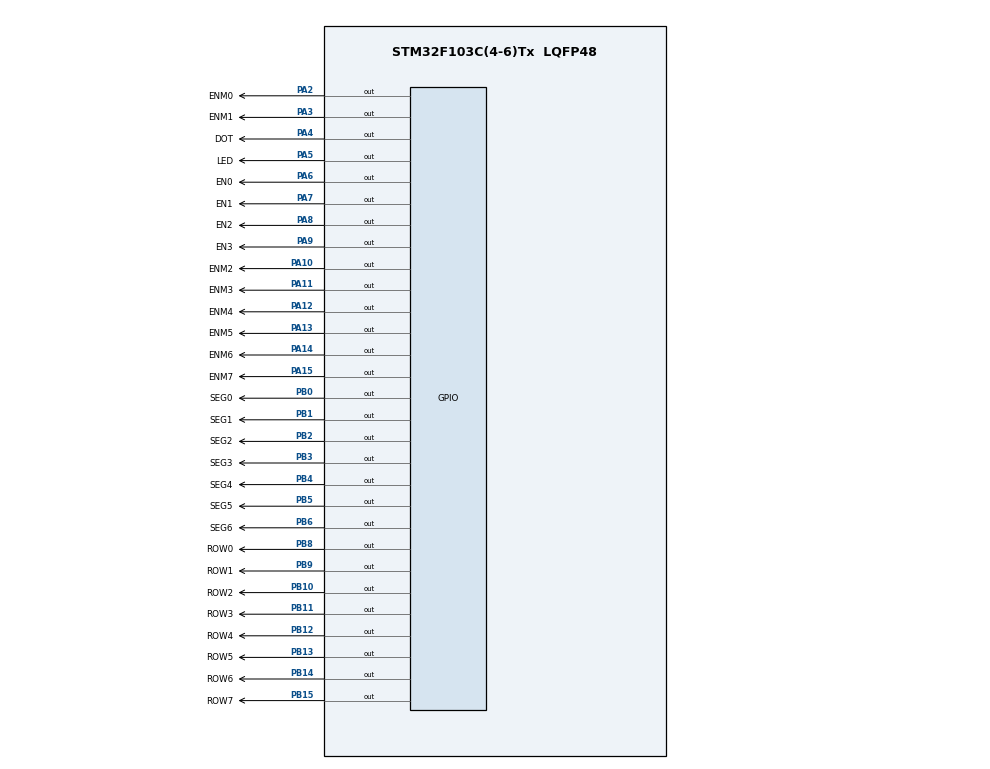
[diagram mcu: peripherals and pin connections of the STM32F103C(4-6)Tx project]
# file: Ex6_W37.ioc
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Mcu.Family=STM32F1
PB14.GPIO_Label=ROW6
PA14.GPIO_Label=ENM6
PA6.GPIO_Label=EN0
PB0.GPIO_Label=SEG0
PB6.GPIO_Label=SEG6
PB13.GPIO_Label=ROW5
PB11.Signal=GPIO_Output
PB15.Signal=GPIO_Output
PB13.Signal=GPIO_Output
ProjectManager.StackSize=0x400
PD1-OSC_OUT.Signal=RCC_OSC_OUT
PA15.GPIO_Label=ENM7
PA12.Signal=GPIO_Output
PB6.Signal=GPIO_Output
PB2.Signal=GPIO_Output
PB12.GPIO_Label=ROW4
PB1.GPIO_Label=SEG1
NVIC.TIM2_IRQn=true\:0\:0\:false\:false\:true\:true\:true
PA10.GPIO_Label=ENM2
PA8.Signal=GPIO_Output
Mcu.Package=LQFP48
PB9.Signal=GPIO_Output
TIM2.Prescaler=7999
PB1.Signal=GPIO_Output
PA6.Signal=GPIO_Output
PA2.GPIO_Label=ENM0
PA10.Signal=GPIO_Output
PA15.Signal=GPIO_Output
PB5.GPIO_Label=SEG5
PA4.GPIO_Label=DOT
PB4.Signal=GPIO_Output
PA3.Signal=GPIO_Output
PB3.GPIO_Label=SEG3
PD1-OSC_OUT.Mode=HSE-External-Oscillator
PB9.GPIO_Label=ROW1
PA9.GPIO_Label=EN3
PB11.GPIO_Label=ROW3
PA11.GPIO_Label=ENM3
PD0-OSC_IN.Signal=RCC_OSC_IN
VP_SYS_VS_ND.Mode=No_Debug
PA12.GPIO_Label=ENM4
PA13.Signal=GPIO_Output
PB8.GPIO_Label=ROW0
PA8.GPIO_Label=EN2
ProjectManager.TargetToolchain=STM32CubeIDE
PB10.GPIO_Label=ROW2
PA9.Signal=GPIO_Output
PD0-OSC_IN.Mode=HSE-External-Oscillator
PB10.Signal=GPIO_Output
PB14.Signal=GPIO_Output
PA5.Signal=GPIO_Output
board=custom
RCC.APB2Freq_Value=8000000
PB4.GPIO_Label=SEG4
PB15.GPIO_Label=ROW7
VP_TIM2_VS_ClockSourceINT.Mode=Internal
TIM2.Period=9
Mcu.Name=STM32F103C(4-6)Tx
PA2.Signal=GPIO_Output
PA13.GPIO_Label=ENM5
PB3.Signal=GPIO_Output
PA4.Signal=GPIO_Output
PB5.Signal=GPIO_Output
PA7.GPIO_Label=EN1
PA5.GPIO_Label=LED
PA11.Signal=GPIO_Output
PA14.Signal=GPIO_Output
PB2.GPIO_Label=SEG2
ProjectManager.HeapSize=0x200
NVIC.PriorityGroup=NVIC_PRIORITYGROUP_4
PB8.Signal=GPIO_Output
RCC.APB1Freq_Value=8000000
PB0.Signal=GPIO_Output
PB12.Signal=GPIO_Output
PA3.GPIO_Label=ENM1
PA7.Signal=GPIO_Output

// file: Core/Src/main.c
/* USER CODE BEGIN Header */
/**
  ******************************************************************************
  * @file           : main.c
  * @brief          : Main program body
  ******************************************************************************
  * @attention
  *
  * <h2><center>&copy; Copyright (c) 2021 STMicroelectronics.
  * All rights reserved.</center></h2>
  *
  * This software component is licensed by ST under BSD 3-Clause license,
  * the "License"; You may not use this file except in compliance with the
  * License. You may obtain a copy of the License at:
  *                        opensource.org/licenses/BSD-3-Clause
  *
  ******************************************************************************
  */
/* USER CODE END Header */
#include "main.h"

/* USER CODE BEGIN PTD */
void display7SEG(int num) //display 7SEG-LED
{
	/*HAL_GPIO_WritePin(GPIOB, GPIO_PIN_0, GPIO_PIN_SET);
	HAL_GPIO_WritePin(GPIOB, GPIO_PIN_1, GPIO_PIN_SET);
	HAL_GPIO_WritePin(GPIOB, GPIO_PIN_2, GPIO_PIN_SET);
	HAL_GPIO_WritePin(GPIOB, GPIO_PIN_3, GPIO_PIN_SET);
	HAL_GPIO_WritePin(GPIOB, GPIO_PIN_4, GPIO_PIN_SET);
	HAL_GPIO_WritePin(GPIOB, GPIO_PIN_5, GPIO_PIN_SET);
	HAL_GPIO_WritePin(GPIOB, GPIO_PIN_6, GPIO_PIN_SET);*/
	switch (num) {
		case 0:
			HAL_GPIO_WritePin(GPIOB, GPIO_PIN_0, GPIO_PIN_RESET);
			HAL_GPIO_WritePin(GPIOB, GPIO_PIN_1, GPIO_PIN_RESET);
			HAL_GPIO_WritePin(GPIOB, GPIO_PIN_2, GPIO_PIN_RESET);
			HAL_GPIO_WritePin(GPIOB, GPIO_PIN_3, GPIO_PIN_RESET);
			HAL_GPIO_WritePin(GPIOB, GPIO_PIN_4, GPIO_PIN_RESET);
			HAL_GPIO_WritePin(GPIOB, GPIO_PIN_5, GPIO_PIN_RESET);
			HAL_GPIO_WritePin(GPIOB, GPIO_PIN_6, GPIO_PIN_SET);
			break;
		case 1:
			HAL_GPIO_WritePin(GPIOB, GPIO_PIN_0, GPIO_PIN_SET);
				HAL_GPIO_WritePin(GPIOB, GPIO_PIN_1, GPIO_PIN_RESET);
				HAL_GPIO_WritePin(GPIOB, GPIO_PIN_2, GPIO_PIN_RESET);
				HAL_GPIO_WritePin(GPIOB, GPIO_PIN_3, GPIO_PIN_SET);
				HAL_GPIO_WritePin(GPIOB, GPIO_PIN_4, GPIO_PIN_SET);
				HAL_GPIO_WritePin(GPIOB, GPIO_PIN_5, GPIO_PIN_SET);
				HAL_GPIO_WritePin(GPIOB, GPIO_PIN_6, GPIO_PIN_SET);
			break;
		case 2:
			HAL_GPIO_WritePin(GPIOB, GPIO_PIN_0, GPIO_PIN_RESET);
				HAL_GPIO_WritePin(GPIOB, GPIO_PIN_1, GPIO_PIN_RESET);
				HAL_GPIO_WritePin(GPIOB, GPIO_PIN_2, GPIO_PIN_SET);
				HAL_GPIO_WritePin(GPIOB, GPIO_PIN_3, GPIO_PIN_RESET);
				HAL_GPIO_WritePin(GPIOB, GPIO_PIN_4, GPIO_PIN_RESET);
				HAL_GPIO_WritePin(GPIOB, GPIO_PIN_5, GPIO_PIN_SET);
				HAL_GPIO_WritePin(GPIOB, GPIO_PIN_6, GPIO_PIN_RESET);
			break;
		case 3:
			HAL_GPIO_WritePin(GPIOB, GPIO_PIN_0, GPIO_PIN_RESET);
				HAL_GPIO_WritePin(GPIOB, GPIO_PIN_1, GPIO_PIN_RESET);
				HAL_GPIO_WritePin(GPIOB, GPIO_PIN_2, GPIO_PIN_RESET);
				HAL_GPIO_WritePin(GPIOB, GPIO_PIN_3, GPIO_PIN_RESET);
				HAL_GPIO_WritePin(GPIOB, GPIO_PIN_4, GPIO_PIN_SET);
				HAL_GPIO_WritePin(GPIOB, GPIO_PIN_5, GPIO_PIN_SET);
				HAL_GPIO_WritePin(GPIOB, GPIO_PIN_6, GPIO_PIN_RESET);
			break;
		case 4:
			HAL_GPIO_WritePin(GPIOB, GPIO_PIN_0, GPIO_PIN_SET);
				HAL_GPIO_WritePin(GPIOB, GPIO_PIN_1, GPIO_PIN_RESET);
				HAL_GPIO_WritePin(GPIOB, GPIO_PIN_2, GPIO_PIN_RESET);
				HAL_GPIO_WritePin(GPIOB, GPIO_PIN_3, GPIO_PIN_SET);
				HAL_GPIO_WritePin(GPIOB, GPIO_PIN_4, GPIO_PIN_SET);
				HAL_GPIO_WritePin(GPIOB, GPIO_PIN_5, GPIO_PIN_RESET);
				HAL_GPIO_WritePin(GPIOB, GPIO_PIN_6, GPIO_PIN_RESET);
			break;
		case 5:
			HAL_GPIO_WritePin(GPIOB, GPIO_PIN_0, GPIO_PIN_RESET);
				HAL_GPIO_WritePin(GPIOB, GPIO_PIN_1, GPIO_PIN_SET);
				HAL_GPIO_WritePin(GPIOB, GPIO_PIN_2, GPIO_PIN_RESET);
				HAL_GPIO_WritePin(GPIOB, GPIO_PIN_3, GPIO_PIN_RESET);
				HAL_GPIO_WritePin(GPIOB, GPIO_PIN_4, GPIO_PIN_SET);
				HAL_GPIO_WritePin(GPIOB, GPIO_PIN_5, GPIO_PIN_RESET);
				HAL_GPIO_WritePin(GPIOB, GPIO_PIN_6, GPIO_PIN_RESET);
			break;
		case 6:
			HAL_GPIO_WritePin(GPIOB, GPIO_PIN_0, GPIO_PIN_RESET);
				HAL_GPIO_WritePin(GPIOB, GPIO_PIN_1, GPIO_PIN_SET);
				HAL_GPIO_WritePin(GPIOB, GPIO_PIN_2, GPIO_PIN_RESET);
				HAL_GPIO_WritePin(GPIOB, GPIO_PIN_3, GPIO_PIN_RESET);
				HAL_GPIO_WritePin(GPIOB, GPIO_PIN_4, GPIO_PIN_RESET);
				HAL_GPIO_WritePin(GPIOB, GPIO_PIN_5, GPIO_PIN_RESET);
				HAL_GPIO_WritePin(GPIOB, GPIO_PIN_6, GPIO_PIN_RESET);
			break;
		case 7:
			HAL_GPIO_WritePin(GPIOB, GPIO_PIN_0, GPIO_PIN_RESET);
				HAL_GPIO_WritePin(GPIOB, GPIO_PIN_1, GPIO_PIN_RESET);
				HAL_GPIO_WritePin(GPIOB, GPIO_PIN_2, GPIO_PIN_RESET);
				HAL_GPIO_WritePin(GPIOB, GPIO_PIN_3, GPIO_PIN_SET);
				HAL_GPIO_WritePin(GPIOB, GPIO_PIN_4, GPIO_PIN_SET);
				HAL_GPIO_WritePin(GPIOB, GPIO_PIN_5, GPIO_PIN_SET);
				HAL_GPIO_WritePin(GPIOB, GPIO_PIN_6, GPIO_PIN_SET);
			break;
		case 8:
			HAL_GPIO_WritePin(GPIOB, GPIO_PIN_0, GPIO_PIN_RESET);
			HAL_GPIO_WritePin(GPIOB, GPIO_PIN_1, GPIO_PIN_RESET);
			HAL_GPIO_WritePin(GPIOB, GPIO_PIN_2, GPIO_PIN_RESET);
			HAL_GPIO_WritePin(GPIOB, GPIO_PIN_3, GPIO_PIN_RESET);
			HAL_GPIO_WritePin(GPIOB, GPIO_PIN_4, GPIO_PIN_RESET);
			HAL_GPIO_WritePin(GPIOB, GPIO_PIN_5, GPIO_PIN_RESET);
			HAL_GPIO_WritePin(GPIOB, GPIO_PIN_6, GPIO_PIN_RESET);

			break;
		case 9:
			HAL_GPIO_WritePin(GPIOB, GPIO_PIN_0, GPIO_PIN_RESET);
			HAL_GPIO_WritePin(GPIOB, GPIO_PIN_1, GPIO_PIN_RESET);
			HAL_GPIO_WritePin(GPIOB, GPIO_PIN_2, GPIO_PIN_RESET);
			HAL_GPIO_WritePin(GPIOB, GPIO_PIN_3, GPIO_PIN_RESET);
			HAL_GPIO_WritePin(GPIOB, GPIO_PIN_4, GPIO_PIN_SET);
			HAL_GPIO_WritePin(GPIOB, GPIO_PIN_5, GPIO_PIN_RESET);
			HAL_GPIO_WritePin(GPIOB, GPIO_PIN_6, GPIO_PIN_RESET);
			break;
		default:
			HAL_GPIO_WritePin(GPIOB, GPIO_PIN_3, GPIO_PIN_SET);
			break;
		}
}
/* USER CODE END PTD */

/* USER CODE BEGIN PM */
int hour = 15 , minute = 8 , second = 50;
const int MAX_LED = 4;
int index_led = 0;
int led_buffer [4] = {1 , 2 , 3 , 4};
void update7SEG ( int index ) {
switch ( index ) {
case 0:
 // Display the first 7 SEG with led_buffer [0]
	HAL_GPIO_WritePin(GPIOA, GPIO_PIN_6, 0);
	HAL_GPIO_WritePin(GPIOA, GPIO_PIN_7, 1);
	HAL_GPIO_WritePin(GPIOA, GPIO_PIN_8, 1);
	HAL_GPIO_WritePin(GPIOA, GPIO_PIN_9, 1);
	display7SEG(led_buffer[0]);
 break ;
 case 1:
 // Display the second 7 SEG with led_buffer [1]
	 HAL_GPIO_WritePin(GPIOA, GPIO_PIN_6, 1);
	 HAL_GPIO_WritePin(GPIOA, GPIO_PIN_7, 0);
	 HAL_GPIO_WritePin(GPIOA, GPIO_PIN_8, 1);
	 HAL_GPIO_WritePin(GPIOA, GPIO_PIN_9, 1);
	 display7SEG(led_buffer[1]);
 break ;
 case 2:
 // Display the third 7 SEG with led_buffer [2]
	 HAL_GPIO_WritePin(GPIOA, GPIO_PIN_6, 1);
	 HAL_GPIO_WritePin(GPIOA, GPIO_PIN_7, 1);
	 HAL_GPIO_WritePin(GPIOA, GPIO_PIN_8, 0);
	 HAL_GPIO_WritePin(GPIOA, GPIO_PIN_9, 1);
	 display7SEG(led_buffer[2]);
 break ;
 case 3:
 // Display the forth 7 SEG with led_buffer [3]
	 HAL_GPIO_WritePin(GPIOA, GPIO_PIN_6, 1);
	 HAL_GPIO_WritePin(GPIOA, GPIO_PIN_7, 1);
	 HAL_GPIO_WritePin(GPIOA, GPIO_PIN_8, 1);
	 HAL_GPIO_WritePin(GPIOA, GPIO_PIN_9, 0);
	 display7SEG(led_buffer[3]);
 break ;
 default :
 break ;
 }
 }

void updateClockBuffer()
{
	led_buffer[0] = hour/10;
	led_buffer[1] = hour%10;
	led_buffer[2] = minute/10;
	led_buffer[3] = minute%10;
}

/* USER CODE END PM */

TIM_HandleTypeDef htim2;

void SystemClock_Config(void);
static void MX_GPIO_Init(void);
static void MX_TIM2_Init(void);

/* USER CODE BEGIN 0 */
int timer0_counter = 0;
int timer0_flag = 0;
int TIMER_CYCLE = 10;

int timer1_counter = 0;
int timer1_flag = 0;

void setTimer0(int duration ) {
	timer0_counter = duration / TIMER_CYCLE ;
	timer0_flag = 0;
}
void setTimer1(int duration ) {
	timer1_counter = duration / TIMER_CYCLE ;
	timer1_flag = 0;
}
void timerun() {
	if( timer0_counter > 0) {
		timer0_counter--;
		if( timer0_counter == 0) timer0_flag = 1;
	}
	if( timer1_counter > 0) {
		timer1_counter--;
		if( timer1_counter == 0) timer1_flag = 1;
	}
}
const int MAX_LED_MATRIX = 8;
int index_led_matrix = 0;
int shift = 0;
uint8_t matrix_buffer[8] = {0x1f , 0x24 , 0x44 , 0x84 , 0x84 , 0x44 , 0x24 , 0x1f };
void assign_row(uint8_t buffer)
{
	HAL_GPIO_WritePin(GPIOA, GPIO_PIN_2, buffer&0x80);
	HAL_GPIO_WritePin(GPIOA, GPIO_PIN_3, buffer&0x40);
	HAL_GPIO_WritePin(GPIOA, GPIO_PIN_10, buffer&0x20);
	HAL_GPIO_WritePin(GPIOA, GPIO_PIN_11, buffer&0x10);
	HAL_GPIO_WritePin(GPIOA, GPIO_PIN_12, buffer&0x08);
	HAL_GPIO_WritePin(GPIOA, GPIO_PIN_13, buffer&0x04);
	HAL_GPIO_WritePin(GPIOA, GPIO_PIN_14, buffer&0x02);
	HAL_GPIO_WritePin(GPIOA, GPIO_PIN_15, buffer&0x01);
}
void updateLEDMatrix (int index ) {
	if(shift==1)
	{
		uint8_t temp = matrix_buffer[7];
		for(int i=7;i>0;i--)
		{
			matrix_buffer[i] = matrix_buffer[i-1];
		}
		matrix_buffer[0]=temp;
	}
	HAL_GPIO_WritePin(GPIOB, GPIO_PIN_8, 0);
	HAL_GPIO_WritePin(GPIOB, GPIO_PIN_9, 0);
	HAL_GPIO_WritePin(GPIOB, GPIO_PIN_10, 0);
	HAL_GPIO_WritePin(GPIOB, GPIO_PIN_11, 0);
	HAL_GPIO_WritePin(GPIOB, GPIO_PIN_12, 0);
	HAL_GPIO_WritePin(GPIOB, GPIO_PIN_13, 0);
	HAL_GPIO_WritePin(GPIOB, GPIO_PIN_14, 0);
	HAL_GPIO_WritePin(GPIOB, GPIO_PIN_15, 0);
	switch ( index ) {
		case 0:
			HAL_GPIO_WritePin(GPIOB, GPIO_PIN_8, 1);
			break ;
		case 1:
			HAL_GPIO_WritePin(GPIOB, GPIO_PIN_9, 1);
			break ;
		case 2:
			HAL_GPIO_WritePin(GPIOB, GPIO_PIN_10, 1);
			break ;
		case 3:
			HAL_GPIO_WritePin(GPIOB, GPIO_PIN_11, 1);
			break ;
		case 4:
			HAL_GPIO_WritePin(GPIOB, GPIO_PIN_12, 1);
			break ;
		case 5:
			HAL_GPIO_WritePin(GPIOB, GPIO_PIN_13, 1);
			break ;
		case 6:
			HAL_GPIO_WritePin(GPIOB, GPIO_PIN_14, 1);
			break ;
		case 7:
			HAL_GPIO_WritePin(GPIOB, GPIO_PIN_15, 1);
			break ;
		default :
			break ;
	}
	assign_row(matrix_buffer[index]);
}
/* USER CODE END 0 */

int main(void)
{

  /* MCU Configuration--------------------------------------------------------*/

  /* Reset of all peripherals, Initializes the Flash interface and the Systick. */
  HAL_Init();

  /* Configure the system clock */
  SystemClock_Config();

  /* Initialize all configured peripherals */
  MX_GPIO_Init();
  MX_TIM2_Init();
  /* USER CODE BEGIN 2 */
  HAL_TIM_Base_Start_IT(&htim2);
  /* USER CODE END 2 */

  /* Infinite loop */
  /* USER CODE BEGIN WHILE */

  setTimer0(10);
  setTimer1(10);
  int index_led = 0;
  int index_matrix=0;
  while (1)
  {

	  if(timer1_flag == 1) //cycle = 0.25s
	  {
		  update7SEG(index_led);
		  updateLEDMatrix(index_matrix);
		  setTimer1(250);
		  if(index_led==3) index_led=0;
		  	  else index_led++;
		  if(index_matrix==7)
		  {
			  index_matrix=0;
			  shift = 1;
		  }
		  else
		  {
			  index_matrix++;
			  shift = 0;
		   }
	  }
	  if(timer0_flag == 1) //cycle = 1s
	  {
		  second++;
		  if ( second >= 60) {
			  second = 0;
			  minute++;
		  }
		  if( minute >= 60) {
			  minute = 0;
			  hour++;
		  }
		  if( hour >=24) {
			  hour = 0;
		  }
		  updateClockBuffer();
		  HAL_GPIO_TogglePin( GPIOA, GPIO_PIN_5 );
		  HAL_GPIO_TogglePin( GPIOA, GPIO_PIN_4 );
		  setTimer0(1000);
	  }
	  /* USER CODE END WHILE */
  }
}

void SystemClock_Config(void)
{
  RCC_OscInitTypeDef RCC_OscInitStruct = {0};
  RCC_ClkInitTypeDef RCC_ClkInitStruct = {0};

  /** Initializes the RCC Oscillators according to the specified parameters
  * in the RCC_OscInitTypeDef structure.
  */
  RCC_OscInitStruct.OscillatorType = RCC_OSCILLATORTYPE_HSI;
  RCC_OscInitStruct.HSIState = RCC_HSI_ON;
  RCC_OscInitStruct.HSICalibrationValue = RCC_HSICALIBRATION_DEFAULT;
  RCC_OscInitStruct.PLL.PLLState = RCC_PLL_NONE;
  if (HAL_RCC_OscConfig(&RCC_OscInitStruct) != HAL_OK)
  {
    Error_Handler();
  }
  /** Initializes the CPU, AHB and APB buses clocks
  */
  RCC_ClkInitStruct.ClockType = RCC_CLOCKTYPE_HCLK|RCC_CLOCKTYPE_SYSCLK
                              |RCC_CLOCKTYPE_PCLK1|RCC_CLOCKTYPE_PCLK2;
  RCC_ClkInitStruct.SYSCLKSource = RCC_SYSCLKSOURCE_HSI;
  RCC_ClkInitStruct.AHBCLKDivider = RCC_SYSCLK_DIV1;
  RCC_ClkInitStruct.APB1CLKDivider = RCC_HCLK_DIV1;
  RCC_ClkInitStruct.APB2CLKDivider = RCC_HCLK_DIV1;

  if (HAL_RCC_ClockConfig(&RCC_ClkInitStruct, FLASH_LATENCY_0) != HAL_OK)
  {
    Error_Handler();
  }
}

static void MX_TIM2_Init(void)
{

  TIM_ClockConfigTypeDef sClockSourceConfig = {0};
  TIM_MasterConfigTypeDef sMasterConfig = {0};

  htim2.Instance = TIM2;
  htim2.Init.Prescaler = 7999;
  htim2.Init.CounterMode = TIM_COUNTERMODE_UP;
  htim2.Init.Period = 9;
  htim2.Init.ClockDivision = TIM_CLOCKDIVISION_DIV1;
  htim2.Init.AutoReloadPreload = TIM_AUTORELOAD_PRELOAD_DISABLE;
  if (HAL_TIM_Base_Init(&htim2) != HAL_OK)
  {
    Error_Handler();
  }
  sClockSourceConfig.ClockSource = TIM_CLOCKSOURCE_INTERNAL;
  if (HAL_TIM_ConfigClockSource(&htim2, &sClockSourceConfig) != HAL_OK)
  {
    Error_Handler();
  }
  sMasterConfig.MasterOutputTrigger = TIM_TRGO_RESET;
  sMasterConfig.MasterSlaveMode = TIM_MASTERSLAVEMODE_DISABLE;
  if (HAL_TIMEx_MasterConfigSynchronization(&htim2, &sMasterConfig) != HAL_OK)
  {
    Error_Handler();
  }

}

static void MX_GPIO_Init(void)
{
  GPIO_InitTypeDef GPIO_InitStruct = {0};

  /* GPIO Ports Clock Enable */
  __HAL_RCC_GPIOD_CLK_ENABLE();
  __HAL_RCC_GPIOA_CLK_ENABLE();
  __HAL_RCC_GPIOB_CLK_ENABLE();

  /*Configure GPIO pin Output Level */
  HAL_GPIO_WritePin(GPIOA, GPIO_PIN_2|GPIO_PIN_3|GPIO_PIN_4|GPIO_PIN_5|GPIO_PIN_6|GPIO_PIN_7
                          |GPIO_PIN_8|GPIO_PIN_9|GPIO_PIN_10|GPIO_PIN_11|GPIO_PIN_12|GPIO_PIN_13|GPIO_PIN_14|GPIO_PIN_15, GPIO_PIN_RESET);

  /*Configure GPIO pin Output Level */
  HAL_GPIO_WritePin(GPIOB, GPIO_PIN_0|GPIO_PIN_1|GPIO_PIN_2|GPIO_PIN_3|GPIO_PIN_4|GPIO_PIN_5|GPIO_PIN_6|
		  	  	  	  	   GPIO_PIN_8|GPIO_PIN_9|GPIO_PIN_10|GPIO_PIN_11|GPIO_PIN_12|GPIO_PIN_13|GPIO_PIN_14|GPIO_PIN_15,GPIO_PIN_RESET);

  /*Configure GPIO pins : PA4 PA5 PA6 PA7
                           PA8 PA9 */
  GPIO_InitStruct.Pin = GPIO_PIN_2|GPIO_PIN_3|GPIO_PIN_4|GPIO_PIN_5|GPIO_PIN_6|GPIO_PIN_7
          |GPIO_PIN_8|GPIO_PIN_9|GPIO_PIN_10|GPIO_PIN_11|GPIO_PIN_12|GPIO_PIN_13|GPIO_PIN_14|GPIO_PIN_15;
  GPIO_InitStruct.Mode = GPIO_MODE_OUTPUT_PP;
  GPIO_InitStruct.Pull = GPIO_NOPULL;
  GPIO_InitStruct.Speed = GPIO_SPEED_FREQ_LOW;
  HAL_GPIO_Init(GPIOA, &GPIO_InitStruct);

  /*Configure GPIO pins : PB0 PB1 PB2 PB3
                           PB4 PB5 PB6 */
  GPIO_InitStruct.Pin = GPIO_PIN_0|GPIO_PIN_1|GPIO_PIN_2|GPIO_PIN_3|GPIO_PIN_4|GPIO_PIN_5|GPIO_PIN_6|
	  	  	   GPIO_PIN_8|GPIO_PIN_9|GPIO_PIN_10|GPIO_PIN_11|GPIO_PIN_12|GPIO_PIN_13|GPIO_PIN_14|GPIO_PIN_15;
  GPIO_InitStruct.Mode = GPIO_MODE_OUTPUT_PP;
  GPIO_InitStruct.Pull = GPIO_NOPULL;
  GPIO_InitStruct.Speed = GPIO_SPEED_FREQ_LOW;
  HAL_GPIO_Init(GPIOB, &GPIO_InitStruct);

}

/* USER CODE BEGIN 4 */

void HAL_TIM_PeriodElapsedCallback ( TIM_HandleTypeDef * htim )
{
	//do chu ki la 10ms nen ham nay xu li gi sau 10ms
	timerun();
}
/* USER CODE END 4 */

void Error_Handler(void)
{
  __disable_irq();
  while (1)
  {
  }
}

/************************ (C) COPYRIGHT STMicroelectronics *****END OF FILE****/
